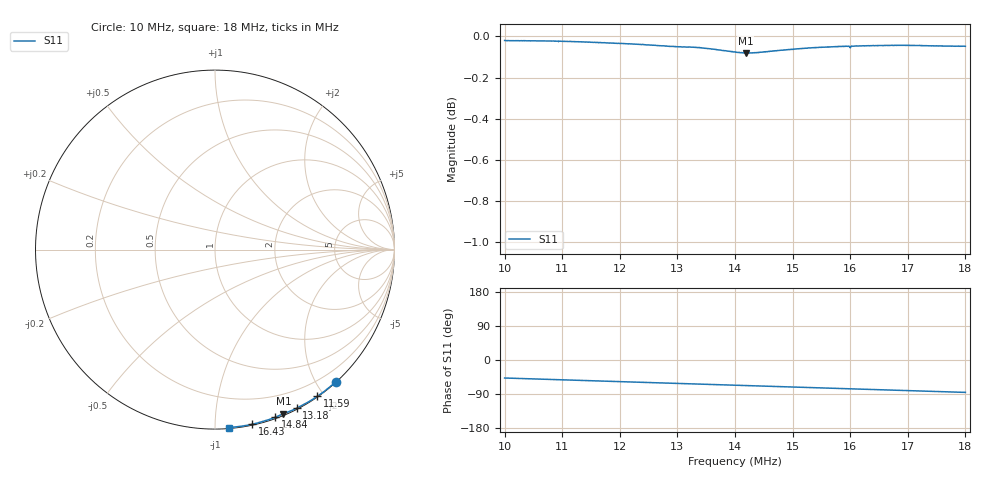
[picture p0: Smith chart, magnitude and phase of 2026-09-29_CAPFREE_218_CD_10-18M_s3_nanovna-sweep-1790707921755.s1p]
! NanoVNA Web complex sweep
! Processing: unaveraged complex samples; linear segment spacing; no smoothing
# Hz S RI R 50
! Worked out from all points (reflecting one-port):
!   1010 points, 10 MHz to 18 MHz, reference 50 ohm
!   lowest |S11| = -0.1 dB at 14.19 MHz (marker M1), VSWR 214.49, Z = 0.758 - j75 ohm
!   phase of S11 starts at -48 deg and turns -38 deg over the sweep
!   S11 on the Smith chart (normalised r, x): 10 MHz: 0.01, -2.27; 11.59 MHz: 0.01, -1.92; 13.18 MHz: 0.01, -1.64; 14.84 MHz: 0.01, -1.42; 16.43 MHz: 0.01, -1.24; 18 MHz: 0.01, -1.08
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1e7  0.674 -0.7356
1.003964e7  0.6715 -0.7378
1.039645e7  0.6493 -0.7574
1.069775e7  0.6299 -0.7734
1.100698e7  0.6097 -0.7892
1.159373e7  0.5699 -0.8176
1.200604e7  0.5411 -0.8362
1.252142e7  0.504 -0.8581
1.300509e7  0.4687 -0.8769
1.317953e7  0.4558 -0.8834
1.339361e7  0.4398 -0.8911
1.357598e7  0.4261 -0.897
1.400414e7  0.3943 -0.9096
1.418651e7  0.3814 -0.9144
1.451953e7  0.358 -0.9245
1.484462e7  0.3339 -0.9346
1.50032e7  0.3218 -0.9391
1.531243e7  0.2979 -0.9479
1.556616e7  0.2779 -0.9544
1.582782e7  0.257 -0.9606
1.600225e7  0.2435 -0.9634
1.611326e7  0.2341 -0.9667
1.643042e7  0.2083 -0.9728
1.670793e7  0.1855 -0.9775
1.700131e7  0.1611 -0.9818
1.753255e7  0.1169 -0.9879
1.796072e7  0.0813 -0.9912
1.800036e7  0.0779 -0.9914
